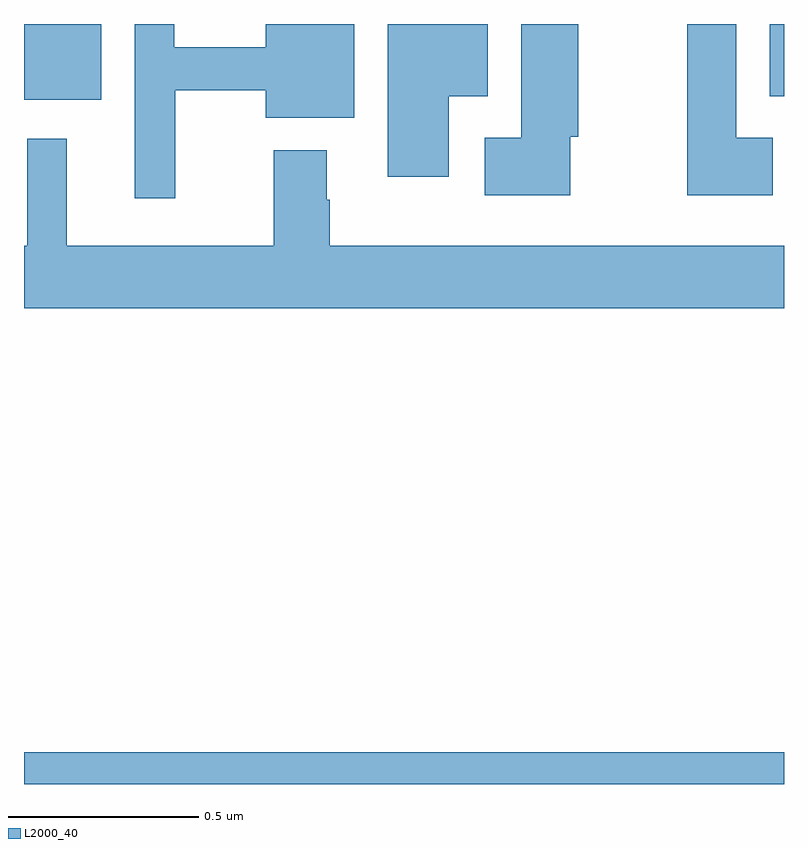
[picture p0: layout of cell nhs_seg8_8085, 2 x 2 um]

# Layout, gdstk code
import gdstk
lib = gdstk.Library(unit=1e-6, precision=1e-09)
def R(c, l, rs):  # rectangles x0, y0, x1, y1
    for r in rs: c.add(gdstk.rectangle(r[:2], r[2:], *l))
def P(c, l, *ps):  # polygons
    for p in ps: c.add(gdstk.Polygon(p, *l))
L2000_40 = (2000, 40)

nhs_seg8_8085 = lib.new_cell('nhs_seg8_8085')
R(nhs_seg8_8085, L2000_40, [(218,1129.9,220,1129.984), (218,1131.701,218.203,1131.9), (219.962,1131.71,220,1131.9)])
P(nhs_seg8_8085, L2000_40, [(219.97,1131.601),(219.874,1131.601),(219.874,1131.9),(219.745,1131.9),(219.745,1131.449),(219.97,1131.449)],
  [(219.438,1131.603),(219.459,1131.603),(219.459,1131.9),(219.308,1131.9),(219.308,1131.601),(219.213,1131.601),(219.213,1131.449),(219.438,1131.449)],
  [(219.118,1131.71),(219.22,1131.71),(219.22,1131.9),(218.957,1131.9),(218.957,1131.498),(219.118,1131.498)],
  [(218.398,1131.726),(218.636,1131.726),(218.636,1131.653),(218.869,1131.653),(218.869,1131.9),(218.636,1131.9),(218.636,1131.839),(218.395,1131.839),(218.395,1131.9),(218.291,1131.9),(218.291,1131.441),(218.398,1131.441)],
  [(220,1131.316),(218.805,1131.316),(218.805,1131.437),(218.797,1131.437),(218.797,1131.568),(218.657,1131.568),(218.657,1131.316),(218.113,1131.316),(218.113,1131.598),(218.009,1131.598),(218.009,1131.316),(218,1131.316),(218,1131.152),(220,1131.152)])

lib.write_gds('nhs_seg8_8085.gds')
